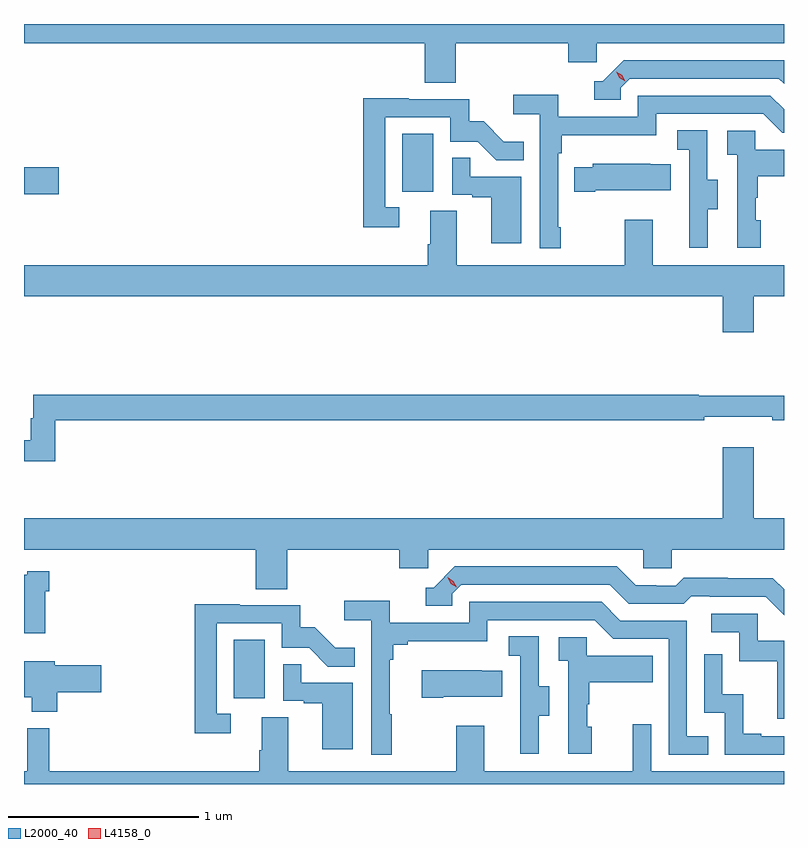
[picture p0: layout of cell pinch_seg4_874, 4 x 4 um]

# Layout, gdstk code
import gdstk
lib = gdstk.Library(unit=1e-6, precision=1e-09)
def R(c, l, rs):  # rectangles x0, y0, x1, y1
    for r in rs: c.add(gdstk.rectangle(r[:2], r[2:], *l))
def P(c, l, *ps):  # polygons
    for p in ps: c.add(gdstk.Polygon(p, *l))
L2000_40 = (2000, 40)
L4158_0 = (4158, 0)

pinch_seg4_874 = lib.new_cell('pinch_seg4_874')
R(pinch_seg4_874, L2000_40, [(881.714,806.694,881.878,807.001), (880.611,809.347,880.795,809.489), (882.602,809.358,882.766,809.665)])
P(pinch_seg4_874, L2000_40, [(882.884,810.14),(883.475,810.14),(883.475,810.042),(883.626,810.042),(883.626,810.14),(884.611,810.14),(884.611,810.242),(880.611,810.242),(880.611,810.14),(882.719,810.14),(882.719,809.932),(882.884,809.932)],
  [(883.752,809.907),(883.8,809.955),(884.583,809.955),(884.611,809.927),(884.611,810.051),(883.767,810.051),(883.656,809.94),(883.613,809.94),(883.613,809.844),(883.752,809.844)],
  [(883.435,809.173),(883.422,809.173),(883.422,809.561),(883.442,809.561),(883.442,809.657),(883.938,809.657),(883.938,809.769),(884.502,809.769),(884.601,809.67),(884.611,809.67),(884.611,809.793),(884.539,809.865),(883.842,809.865),(883.842,809.754),(883.424,809.754),(883.424,809.87),(883.185,809.87),(883.185,809.768),(883.326,809.768),(883.326,809.061),(883.435,809.061)],
  [(882.586,809.277),(882.513,809.277),(882.513,809.751),(882.855,809.751),(882.855,809.622),(882.999,809.622),(883.097,809.524),(883.241,809.524),(883.241,809.623),(883.137,809.623),(883.03,809.73),(882.954,809.73),(882.954,809.847),(882.635,809.847),(882.635,809.852),(882.397,809.852),(882.397,809.172),(882.586,809.172)],
  [(884.209,809.266),(884.263,809.266),(884.263,809.421),(884.208,809.421),(884.208,809.684),(884.049,809.684),(884.049,809.581),(884.112,809.581),(884.112,809.277),(884.111,809.277),(884.111,809.064),(884.209,809.064)],
  [(884.488,809.208),(884.463,809.208),(884.463,809.327),(884.473,809.327),(884.473,809.441),(884.611,809.441),(884.611,809.581),(884.46,809.581),(884.46,809.679),(884.313,809.679),(884.313,809.555),(884.364,809.555),(884.364,809.064),(884.488,809.064)],
  [(883.228,809.439),(882.959,809.439),(882.959,809.537),(882.864,809.537),(882.864,809.343),(882.971,809.343),(882.971,809.331),(883.07,809.331),(883.07,809.088),(883.228,809.088)],
  [(883.618,809.366),(884.015,809.366),(884.015,809.503),(883.907,809.503),(883.907,809.506),(883.605,809.506),(883.605,809.488),(883.507,809.488),(883.507,809.359),(883.618,809.359)],
  [(884.452,808.808),(884.611,808.808),(884.611,808.972),(883.921,808.972),(883.921,809.212),(883.774,809.212),(883.774,808.972),(882.889,808.972),(882.889,809.258),(882.749,809.258),(882.749,809.084),(882.737,809.084),(882.737,808.972),(880.611,808.972),(880.611,808.808),(884.288,808.808),(884.288,808.62),(884.452,808.62)],
  [(880.775,808.156),(884.192,808.156),(884.192,808.175),(884.548,808.175),(884.548,808.156),(884.611,808.156),(884.611,808.285),(884.162,808.285),(884.162,808.292),(880.659,808.292),(880.659,808.166),(880.647,808.166),(880.647,808.052),(880.611,808.052),(880.611,807.942),(880.775,807.942)],
  [(881.996,807.476),(882.587,807.476),(882.587,807.378),(882.738,807.378),(882.738,807.476),(883.869,807.476),(883.869,807.378),(884.019,807.378),(884.019,807.476),(884.611,807.476),(884.611,807.64),(884.452,807.64),(884.452,808.015),(884.288,808.015),(884.288,807.64),(880.611,807.64),(880.611,807.476),(881.831,807.476),(881.831,807.268),(881.996,807.268)],
  [(884.611,807.266),(884.552,807.325),(884.316,807.325),(884.316,807.328),(884.083,807.328),(884.041,807.285),(883.938,807.285),(883.938,807.288),(883.831,807.288),(883.732,807.387),(882.879,807.387),(882.768,807.276),(882.725,807.276),(882.725,807.18),(882.864,807.18),(882.864,807.243),(882.912,807.291),(883.695,807.291),(883.794,807.192),(884.083,807.192),(884.122,807.231),(884.221,807.231),(884.221,807.228),(884.514,807.228),(884.611,807.131)],
  [(880.723,807.257),(880.745,807.257),(880.745,807.361),(880.629,807.361),(880.629,807.343),(880.611,807.343),(880.611,807.035),(880.723,807.035)],
  [(882.547,806.609),(882.535,806.609),(882.535,806.897),(882.554,806.897),(882.554,806.974),(882.631,806.974),(882.631,806.993),(883.05,806.993),(883.05,807.105),(883.614,807.105),(883.713,807.006),(884.004,807.006),(884.004,806.397),(884.213,806.397),(884.213,806.493),(884.1,806.493),(884.1,807.102),(883.75,807.102),(883.651,807.201),(882.954,807.201),(882.954,807.09),(882.536,807.09),(882.536,807.206),(882.297,807.206),(882.297,807.104),(882.438,807.104),(882.438,806.397),(882.547,806.397)],
  [(881.698,806.613),(881.625,806.613),(881.625,807.087),(881.967,807.087),(881.967,806.958),(882.111,806.958),(882.209,806.86),(882.353,806.86),(882.353,806.959),(882.249,806.959),(882.142,807.066),(882.066,807.066),(882.066,807.183),(881.747,807.183),(881.747,807.188),(881.509,807.188),(881.509,806.508),(881.698,806.508)],
  [(884.611,806.997),(884.472,806.997),(884.472,807.138),(884.229,807.138),(884.229,807.042),(884.376,807.042),(884.376,806.889),(884.575,806.889),(884.575,806.586),(884.611,806.586)],
  [(883.321,806.602),(883.375,806.602),(883.375,806.757),(883.32,806.757),(883.32,807.02),(883.161,807.02),(883.161,806.917),(883.224,806.917),(883.224,806.613),(883.223,806.613),(883.223,806.4),(883.321,806.4)],
  [(883.6,806.544),(883.575,806.544),(883.575,806.663),(883.585,806.663),(883.585,806.777),(883.919,806.777),(883.919,806.917),(883.572,806.917),(883.572,807.015),(883.425,807.015),(883.425,806.891),(883.476,806.891),(883.476,806.4),(883.6,806.4)],
  [(884.611,806.493),(884.491,806.493),(884.491,806.506),(884.396,806.506),(884.396,806.714),(884.286,806.714),(884.286,806.926),(884.19,806.926),(884.19,806.616),(884.298,806.616),(884.298,806.397),(884.611,806.397)],
  [(880.787,806.725),(881.017,806.725),(881.017,806.867),(880.774,806.867),(880.774,806.887),(880.611,806.887),(880.611,806.699),(880.652,806.699),(880.652,806.621),(880.787,806.621)],
  [(882.34,806.775),(882.071,806.775),(882.071,806.873),(881.976,806.873),(881.976,806.679),(882.083,806.679),(882.083,806.667),(882.182,806.667),(882.182,806.424),(882.34,806.424)],
  [(882.817,806.702),(883.127,806.702),(883.127,806.839),(883.019,806.839),(883.019,806.842),(882.705,806.842),(882.705,806.695),(882.817,806.695)],
  [(883.814,806.557),(883.814,806.308),(883.033,806.308),(883.033,806.548),(882.886,806.548),(882.886,806.308),(882.001,806.308),(882.001,806.594),(881.861,806.594),(881.861,806.42),(881.849,806.42),(881.849,806.308),(880.745,806.308),(880.745,806.536),(880.628,806.536),(880.628,806.308),(880.611,806.308),(880.611,806.242),(884.611,806.242),(884.611,806.308),(883.911,806.308),(883.911,806.557)])
P(pinch_seg4_874, L4158_0, [(883.776,809.941),(883.744,809.96),(883.728,809.992),(883.728,809.992),(883.728,809.992),(883.759,809.973),(883.776,809.941),(883.776,809.941)],
  [(882.888,807.277),(882.857,807.296),(882.84,807.328),(882.84,807.329),(882.84,807.329),(882.871,807.31),(882.888,807.277),(882.888,807.277)])

lib.write_gds('pinch_seg4_874.gds')
